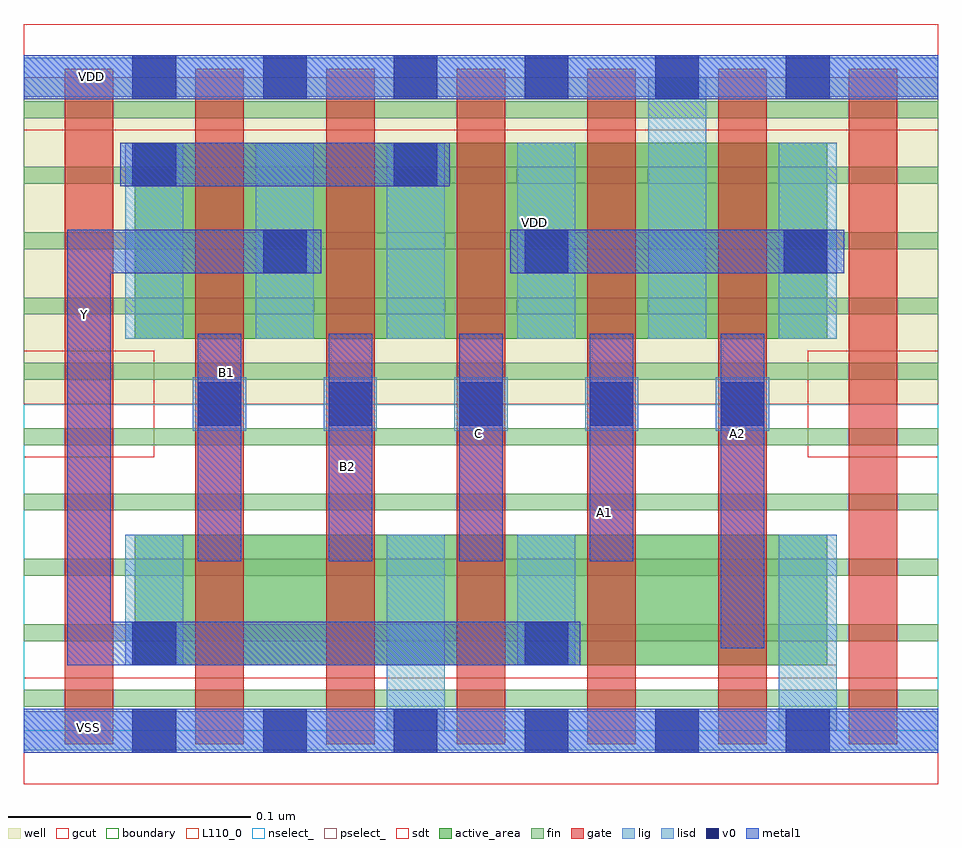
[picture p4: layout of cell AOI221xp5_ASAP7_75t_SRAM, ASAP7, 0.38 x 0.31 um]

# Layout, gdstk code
import gdstk
lib = gdstk.Library(unit=1e-6, precision=2.5e-10)
def R(c, l, rs):  # rectangles x0, y0, x1, y1
    for r in rs: c.add(gdstk.rectangle(r[:2], r[2:], *l))
def A(c, l, x, y, w, h, nx, ny, dx, dy):  # array of equal rectangles
    R(c, l, [(x+i*dx, y+j*dy, x+i*dx+w, y+j*dy+h) for i in range(nx) for j in range(ny)])
def P(c, l, *ps):  # polygons
    for p in ps: c.add(gdstk.Polygon(p, *l))
well = (1, 0)
fin = (2, 0)
gate = (7, 0)
gcut = (10, 0)
active_area = (11, 0)
nselect_ = (12, 0)
pselect_ = (13, 0)
lig = (16, 0)
lisd = (17, 0)
v0 = (18, 0)
metal1 = (19, 0)
sdt = (88, 0)
boundary = (100, 0)
L110_0 = (110, 0)

aoi221xp5_asap7_75t_sram = lib.new_cell('AOI221xp5_ASAP7_75t_SRAM')
R(aoi221xp5_asap7_75t_sram, well, [(0,0.135,0.378,0.27)])
A(aoi221xp5_asap7_75t_sram, fin, 0, 0.01, 0.378, 0.007, 1, 10, 0, 0.027)
A(aoi221xp5_asap7_75t_sram, gate, 0.017, -0.0055, 0.02, 0.279, 7, 1, 0.054, 0)
R(aoi221xp5_asap7_75t_sram, gcut, [(0,-0.022,0.378,0.022), (0,0.113,0.054,0.157), (0.324,0.113,0.378,0.157), (0,0.248,0.378,0.292)])
R(aoi221xp5_asap7_75t_sram, active_area, [(0.046,0.027,0.332,0.081), (0.046,0.162,0.332,0.243)])
R(aoi221xp5_asap7_75t_sram, nselect_, [(0,0,0.378,0.135)])
R(aoi221xp5_asap7_75t_sram, pselect_, [(0,0.135,0.378,0.27)])
A(aoi221xp5_asap7_75t_sram, lig, 0.07, 0.124, 0.022, 0.022, 5, 1, 0.054, 0)
R(aoi221xp5_asap7_75t_sram, lig, [(0,-0.008,0.378,0.008), (0,0.262,0.378,0.278)])
A(aoi221xp5_asap7_75t_sram, lisd, 0.042, 0.162, 0.024, 0.081, 4, 1, 0.054, 0)
R(aoi221xp5_asap7_75t_sram, lisd, [(0.15,0,0.174,0.081), (0.312,0,0.336,0.081), (0.042,0.027,0.066,0.081), (0.204,0.027,0.228,0.081), (0.258,0.162,0.282,0.27), (0.312,0.162,0.336,0.243)])
A(aoi221xp5_asap7_75t_sram, v0, 0.045, -0.009, 0.018, 0.018, 6, 2, 0.054, 0.27)
A(aoi221xp5_asap7_75t_sram, v0, 0.072, 0.126, 0.018, 0.018, 5, 1, 0.054, 0)
R(aoi221xp5_asap7_75t_sram, v0, [(0.045,0.027,0.063,0.045), (0.207,0.027,0.225,0.045), (0.099,0.189,0.117,0.207), (0.207,0.189,0.225,0.207), (0.314,0.189,0.332,0.207), (0.045,0.225,0.063,0.243), (0.153,0.225,0.171,0.243)])
A(aoi221xp5_asap7_75t_sram, metal1, 0.072, 0.07, 0.018, 0.094, 4, 1, 0.054, 0)
R(aoi221xp5_asap7_75t_sram, metal1, [(0,-0.009,0.378,0.009), (0.288,0.034,0.306,0.164), (0.201,0.189,0.339,0.207), (0.04,0.225,0.176,0.243), (0,0.261,0.378,0.279)])
P(aoi221xp5_asap7_75t_sram, metal1, [(0.018,0.027),(0.23,0.027),(0.23,0.045),(0.036,0.045),(0.036,0.189),(0.123,0.189),(0.123,0.207),(0.018,0.207)])
A(aoi221xp5_asap7_75t_sram, sdt, 0.042, 0.162, 0.024, 0.081, 6, 1, 0.054, 0)
R(aoi221xp5_asap7_75t_sram, sdt, [(0.042,0.027,0.066,0.081), (0.15,0.027,0.174,0.081), (0.204,0.027,0.228,0.081), (0.312,0.027,0.336,0.081)])
R(aoi221xp5_asap7_75t_sram, boundary, [(0,0,0.378,0.27)])
R(aoi221xp5_asap7_75t_sram, L110_0, [(0,0,0.378,0.27)])
aoi221xp5_asap7_75t_sram.add(gdstk.Label('VDD', (0.211,0.21), layer=1, texttype=251))
aoi221xp5_asap7_75t_sram.add(gdstk.Label('VSS', (0.238,-0.057), layer=3, texttype=251))
aoi221xp5_asap7_75t_sram.add(gdstk.Label('C', (0.188,0.123), layer=19, texttype=251))
aoi221xp5_asap7_75t_sram.add(gdstk.Label('B2', (0.134,0.109), layer=19, texttype=251))
aoi221xp5_asap7_75t_sram.add(gdstk.Label('B1', (0.084,0.148), layer=19, texttype=251))
aoi221xp5_asap7_75t_sram.add(gdstk.Label('A2', (0.295,0.123), layer=19, texttype=251))
aoi221xp5_asap7_75t_sram.add(gdstk.Label('Y', (0.025,0.172), layer=19, texttype=251))
aoi221xp5_asap7_75t_sram.add(gdstk.Label('VDD', (0.028,0.2705), layer=19, texttype=251))
aoi221xp5_asap7_75t_sram.add(gdstk.Label('VSS', (0.027,0.0015), layer=19, texttype=251))
aoi221xp5_asap7_75t_sram.add(gdstk.Label('A1', (0.24,0.09), layer=19, texttype=251))

lib.write_gds('AOI221xp5_ASAP7_75t_SRAM.gds')
